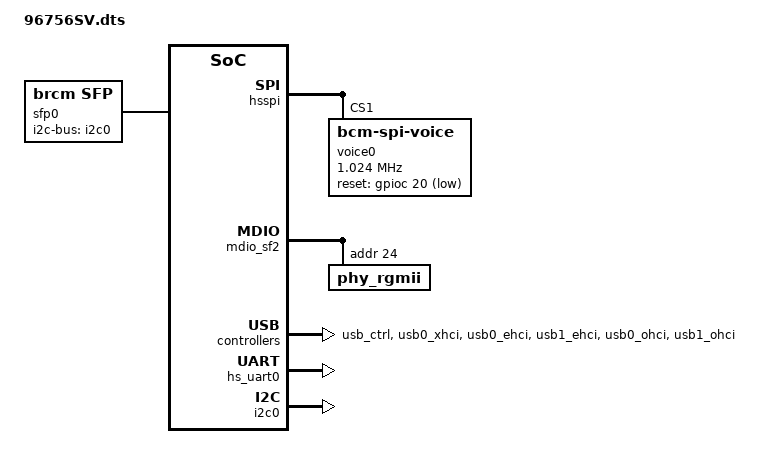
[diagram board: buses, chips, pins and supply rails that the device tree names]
#include "6756.dtsi"
#include "../bcm_voice.dtsi"


/ {
	memory_controller {
		memcfg = <(BP_DDR_SPEED_1067_14_14_14 | \
			BP_DDR_TOTAL_SIZE_512MB    | \
			BP_DDR_DEVICE_WIDTH_16     | \
			BP_DDR_TOTAL_WIDTH_16BIT   | \
			BP_DDR_6756_DEFAULT          | \
			BP_DDR_CONFIG_DEBUG)>;
	};

	buttons {
		compatible = "brcm,buttons";
		reset_button {
			ext_irq = <&bca_extintr 39 GPIO_ACTIVE_LOW (BCA_EXTINTR_TYPE_LOW_LEVEL | BCA_EXTINTR_TYPE_SENSE_EDGE)>;
			press {
				print = "Button Press -- Hold for 5s to do restore to default";
			};
			hold {
				rst_to_dflt = <5>;
			};
			release {
				reset = <0>;
			};	
		};
		ses_button {
			ext_irq = <&bca_extintr 38 GPIO_ACTIVE_LOW (BCA_EXTINTR_TYPE_LOW_LEVEL | BCA_EXTINTR_TYPE_SENSE_EDGE)>;
			release {
				ses_short_period = <0>;
				ses_long_period = <3>;
			};
		};
	};

	sfp0: sfp0 {
		compatible = "brcm,sfp";
		pinctrl-names = "default", "rx-sd";
		pinctrl-0 = <&sgmii_fiber_detect_pin_26>;
		pinctrl-1 = <&sgmii_fiber_detect_pin_26>;

		i2c-bus = <&i2c0>;
		 mod-def0 = <&bca_extintr 9 GPIO_ACTIVE_LOW (BCA_EXTINTR_TYPE_BOTH_EDGE | BCA_EXTINTR_TYPE_SENSE_EDGE)>;
	};
};

&bcm_voice{
	sliclist = SLICSLAC_LIST_COMMON_NOFXO;
 };

&hsspi {
	voice0 {
		pinctrl-0 = <&spim_ss1_b_pin_76>;
		/* pinctrl-0 = <&spim_ss1_b_pin_76 &ntr_pulse_in_pin_37>; */ /* enable it for ntr testing */ 
		pinctrl-names = "default";
		compatible = "bcm-spi-voice";
		reg = <1>; /* chip select 1 */
		spi-max-frequency = <1024000>;
		reset-gpio = <&gpioc 20 GPIO_ACTIVE_LOW>;
		spi-index = <0>;/* voice header index */
	};
};

&mdio_sf2 {
   /* Port PHY mapping:
        port_imp -8#0- port_gphy <---> phy_gphy
                  # 1- port_rgmii <--> phy_rgmii
                  ##5- port_sgmii0 <-> phy_serdes0 - sfp0
     */
	phy_gphy {
		status = "okay";
	};
	phy_rgmii {
		reg = <24>;
		status = "okay";
	};
	phy_serdes0 {
		trx = <&sfp0>;
		status = "okay";
	};
};

&switch0 {
	pinctrl-names = "default", "rgmii"; 
	pinctrl-0 = <&a_rgmii_mdc_pin_68 &a_rgmii_mdio_pin_69 &rgmii_pins>; 
	pinctrl-1 = <&rgmii_pins>; 

	ports {
		port_gphy {
			phy-handle = <&phy_gphy>;
			status = "okay";
		};
		port_rgmii {
			phy-handle = <&phy_rgmii>;
			mii-pinctrl-state = "rgmii";
			phy-mode = "rgmii";
			rgmii-1p8v;
			status = "okay";
		};
		port_sgmii0 {
			phy-handle = <&phy_serdes0>;    /* SFP */
			status = "okay";
		};
	};
};

&usb_ctrl {
	pinctrl-names="default";
	pinctrl-0 = <&usb0_pwr_pins &usb1_pwr_pins>;
	status = "okay";
	xhci-enable;
};

&usb0_xhci {
	status = "okay";
};

&usb0_ehci {
	status = "okay";
};

&usb1_ehci {
	status = "okay";
};

&usb0_ohci {
	status = "okay";
};

&usb1_ohci {
	status = "okay";
};

&hs_uart0 {
	status = "okay";
};

&i2c0 {
	pinctrl-names="default";
	pinctrl-0 = <&i2c_sda_pin_16 &i2c_scl_pin_17>;
	status = "okay";
};
